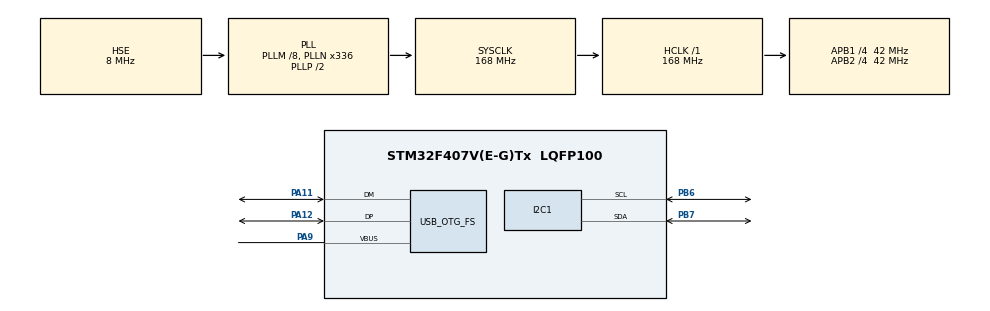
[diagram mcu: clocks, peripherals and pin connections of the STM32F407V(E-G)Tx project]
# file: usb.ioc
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Mcu.Family=STM32F4
Mcu.Name=STM32F407V(E-G)Tx
Mcu.Package=LQFP100
NVIC.OTG_FS_IRQn=true\:0\:0\:false\:false\:true\:false
NVIC.PriorityGroup=NVIC_PRIORITYGROUP_4
PA11.Mode=Device_Only
PA11.Signal=USB_OTG_FS_DM
PA12.Mode=Device_Only
PA12.Signal=USB_OTG_FS_DP
PA9.Mode=Activate_VBUS
PA9.Signal=USB_OTG_FS_VBUS
PB6.Mode=I2C
PB6.Signal=I2C1_SCL
PB7.Mode=I2C
PB7.Signal=I2C1_SDA
PH0-OSC_IN.Mode=HSE-External-Oscillator
PH0-OSC_IN.Signal=RCC_OSC_IN
PH1-OSC_OUT.Mode=HSE-External-Oscillator
PH1-OSC_OUT.Signal=RCC_OSC_OUT
ProjectManager.HeapSize=0x200
ProjectManager.StackSize=0x400
ProjectManager.TargetToolchain=MDK-ARM V5
RCC.48MHZClocksFreq_Value=48000000
RCC.AHBFreq_Value=168000000
RCC.APB1CLKDivider=RCC_HCLK_DIV4
RCC.APB1Freq_Value=42000000
RCC.APB1TimFreq_Value=84000000
RCC.APB2CLKDivider=RCC_HCLK_DIV4
RCC.APB2Freq_Value=42000000
RCC.APB2TimFreq_Value=84000000
RCC.CortexFreq_Value=168000000
RCC.HCLKFreq_Value=168000000
RCC.HSE_VALUE=8000000
RCC.HSI_VALUE=16000000
RCC.LSE_VALUE=32768
RCC.PLLM=8
RCC.PLLN=336
RCC.PLLQ=7
RCC.SYSCLKFreq_VALUE=168000000
RCC.SYSCLKSource=RCC_SYSCLKSOURCE_PLLCLK
RCC.VCOOutputFreq_Value=336000000
USB_DEVICE.CLASS_NAME_FS=CDC
USB_DEVICE.PRODUCT_STRING_CDC_FS=IgorVelikiy
USB_DEVICE.VirtualMode-CDC_FS=Cdc
USB_DEVICE.VirtualModeFS=Cdc_FS
USB_OTG_FS.VirtualMode=Device_Only
VP_USB_DEVICE_VS_USB_DEVICE_CDC_FS.Mode=CDC_FS
board=usb

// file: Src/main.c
/**
  ******************************************************************************
  * @file           : main.c
  * @brief          : Main program body
  ******************************************************************************
  * This notice applies to any and all portions of this file
  * that are not between comment pairs USER CODE BEGIN and
  * USER CODE END. Other portions of this file, whether
  * inserted by the user or by software development tools
  * are owned by their respective copyright owners.
  *
  * Copyright (c) 2018 STMicroelectronics International N.V.
  * All rights reserved.
  *
  * Redistribution and use in source and binary forms, with or without
  * modification, are permitted, provided that the following conditions are met:
  *
  * 1. Redistribution of source code must retain the above copyright notice,
  *    this list of conditions and the following disclaimer.
  * 2. Redistributions in binary form must reproduce the above copyright notice,
  *    this list of conditions and the following disclaimer in the documentation
  *    and/or other materials provided with the distribution.
  * 3. Neither the name of STMicroelectronics nor the names of other
  *    contributors to this software may be used to endorse or promote products
  *    derived from this software without specific written permission.
  * 4. This software, including modifications and/or derivative works of this
  *    software, must execute solely and exclusively on microcontroller or
  *    microprocessor devices manufactured by or for STMicroelectronics.
  * 5. Redistribution and use of this software other than as permitted under
  *    this license is void and will automatically terminate your rights under
  *    this license.
  *
  * THIS SOFTWARE IS PROVIDED BY STMICROELECTRONICS AND CONTRIBUTORS "AS IS"
  * AND ANY EXPRESS, IMPLIED OR STATUTORY WARRANTIES, INCLUDING, BUT NOT
  * LIMITED TO, THE IMPLIED WARRANTIES OF MERCHANTABILITY, FITNESS FOR A
  * PARTICULAR PURPOSE AND NON-INFRINGEMENT OF THIRD PARTY INTELLECTUAL PROPERTY
  * RIGHTS ARE DISCLAIMED TO THE FULLEST EXTENT PERMITTED BY LAW. IN NO EVENT
  * SHALL STMICROELECTRONICS OR CONTRIBUTORS BE LIABLE FOR ANY DIRECT, INDIRECT,
  * INCIDENTAL, SPECIAL, EXEMPLARY, OR CONSEQUENTIAL DAMAGES (INCLUDING, BUT NOT
  * LIMITED TO, PROCUREMENT OF SUBSTITUTE GOODS OR SERVICES; LOSS OF USE, DATA,
  * OR PROFITS; OR BUSINESS INTERRUPTION) HOWEVER CAUSED AND ON ANY THEORY OF
  * LIABILITY, WHETHER IN CONTRACT, STRICT LIABILITY, OR TORT (INCLUDING
  * NEGLIGENCE OR OTHERWISE) ARISING IN ANY WAY OUT OF THE USE OF THIS SOFTWARE,
  * EVEN IF ADVISED OF THE POSSIBILITY OF SUCH DAMAGE.
  *
  ******************************************************************************
  */
#include "main.h"
#include "stm32f4xx_hal.h"

/* USER CODE BEGIN Includes */
#include "mpu.h"
#include "uart.h"
#include "MadgwickAHRS.h"
#define MS 1000
/* USER CODE END Includes */

I2C_HandleTypeDef hi2c1;
uint8_t buffer[16];
/* USER CODE BEGIN PV */
/* Private variables ---------------------------------------------------------*/

/* USER CODE END PV */

void SystemClock_Config(void);
static void MX_GPIO_Init(void);
static void MX_I2C1_Init(void);

/* USER CODE BEGIN PFP */
/* Private function prototypes -----------------------------------------------*/

/* USER CODE END PFP */

int main(void)
{
  /* USER CODE BEGIN 1 */
	MEMS data;
  /* USER CODE END 1 */

  /* MCU Configuration----------------------------------------------------------*/

  /* Reset of all peripherals, Initializes the Flash interface and the Systick. */
  HAL_Init();

  /* Configure the system clock */
  SystemClock_Config();

  /* Initialize all configured peripherals */
  MX_GPIO_Init();
  MX_I2C1_Init();
  /* USER CODE BEGIN 2 */
	USART1_Init();
  /* USER CODE END 2 */

  /* Infinite loop */
  /* USER CODE BEGIN WHILE */
	i2cWrite(0x6B, 0); // wakeup mpu
	MagnetInit();
	RCC->AHB1ENR|=RCC_AHB1ENR_GPIODEN;
	GPIOD->MODER = 0x55000000;
  while (1)
  {
		readMPU(&data);
		MadgwickAHRSupdate(data.gyroscope.x,data.gyroscope.y,data.gyroscope.z,data.accelerometer.x,data.accelerometer.y,data.accelerometer.z,data.compass.x,data.compass.y,data.compass.z);
		/*ret1 = snprintf(buffer, sizeof buffer, "%f", q0);
		for (size = 0; size<ret1; size++)
		{
			buf[size] = (uint8_t)buffer[size];
			buffer[size] = 0;
		}
		buf[size++]='\n';
		ret2 = snprintf(buffer, sizeof buffer, "%f", q1);
		for (int i = 0; i<ret2; i++, size++)
		{
			buf[size] = (uint8_t)buffer[i];
			buffer[i] = 0;
		}
		buf[size++]='\n';
		ret3 = snprintf(buffer, sizeof buffer, "%f", q2);
		for (int i = 0; i<ret3; i++, size++)
		{
			buf[size] = (uint8_t)buffer[i];
			buffer[i] = 0;
		}
		buf[size++]='\n';
		ret4 = snprintf(buffer, sizeof buffer, "%f", q3);
		for (int i = 0; i<ret4; i++, size++)
		{
			buf[size] = (uint8_t)buffer[i];
			buffer[i] = 0;
		}
		buf[size++]='\n';
		USART1_Send_String(buf, size);
		HAL_Delay(MS);*/
		memcpy(buffer, (void*)&q0, 4);
		memcpy(buffer+4, (void*)&q1, 4);
		memcpy(buffer+8, (void*)&q2, 4);
		memcpy(buffer+12, (void*)&q3, 4);
		USART1_Send_String(buffer, 16);
		HAL_Delay(MS);
  /* USER CODE END WHILE */

  }

}

void SystemClock_Config(void)
{

  RCC_OscInitTypeDef RCC_OscInitStruct;
  RCC_ClkInitTypeDef RCC_ClkInitStruct;

    /**Configure the main internal regulator output voltage
    */
  __HAL_RCC_PWR_CLK_ENABLE();

  __HAL_PWR_VOLTAGESCALING_CONFIG(PWR_REGULATOR_VOLTAGE_SCALE1);

    /**Initializes the CPU, AHB and APB busses clocks
    */
  RCC_OscInitStruct.OscillatorType = RCC_OSCILLATORTYPE_HSE;
  RCC_OscInitStruct.HSEState = RCC_HSE_ON;
  RCC_OscInitStruct.PLL.PLLState = RCC_PLL_ON;
  RCC_OscInitStruct.PLL.PLLSource = RCC_PLLSOURCE_HSE;
  RCC_OscInitStruct.PLL.PLLM = 8;
  RCC_OscInitStruct.PLL.PLLN = 336;
  RCC_OscInitStruct.PLL.PLLP = RCC_PLLP_DIV2;
  RCC_OscInitStruct.PLL.PLLQ = 7;
  if (HAL_RCC_OscConfig(&RCC_OscInitStruct) != HAL_OK)
  {
    _Error_Handler(__FILE__, __LINE__);
  }

    /**Initializes the CPU, AHB and APB busses clocks
    */
  RCC_ClkInitStruct.ClockType = RCC_CLOCKTYPE_HCLK|RCC_CLOCKTYPE_SYSCLK
                              |RCC_CLOCKTYPE_PCLK1|RCC_CLOCKTYPE_PCLK2;
  RCC_ClkInitStruct.SYSCLKSource = RCC_SYSCLKSOURCE_PLLCLK;
  RCC_ClkInitStruct.AHBCLKDivider = RCC_SYSCLK_DIV1;
  RCC_ClkInitStruct.APB1CLKDivider = RCC_HCLK_DIV4;
  RCC_ClkInitStruct.APB2CLKDivider = RCC_HCLK_DIV4;

  if (HAL_RCC_ClockConfig(&RCC_ClkInitStruct, FLASH_LATENCY_5) != HAL_OK)
  {
    _Error_Handler(__FILE__, __LINE__);
  }

    /**Configure the Systick interrupt time
    */
  HAL_SYSTICK_Config(HAL_RCC_GetHCLKFreq()/1000);

    /**Configure the Systick
    */
  HAL_SYSTICK_CLKSourceConfig(SYSTICK_CLKSOURCE_HCLK);

  /* SysTick_IRQn interrupt configuration */
  HAL_NVIC_SetPriority(SysTick_IRQn, 0, 0);
}

/* I2C1 init function */
static void MX_I2C1_Init(void)
{

  hi2c1.Instance = I2C1;
  hi2c1.Init.ClockSpeed = 100000;
  hi2c1.Init.DutyCycle = I2C_DUTYCYCLE_2;
  hi2c1.Init.OwnAddress1 = 0;
  hi2c1.Init.AddressingMode = I2C_ADDRESSINGMODE_7BIT;
  hi2c1.Init.DualAddressMode = I2C_DUALADDRESS_DISABLE;
  hi2c1.Init.OwnAddress2 = 0;
  hi2c1.Init.GeneralCallMode = I2C_GENERALCALL_DISABLE;
  hi2c1.Init.NoStretchMode = I2C_NOSTRETCH_DISABLE;
  if (HAL_I2C_Init(&hi2c1) != HAL_OK)
  {
    _Error_Handler(__FILE__, __LINE__);
  }

}

/** Configure pins as
        * Analog
        * Input
        * Output
        * EVENT_OUT
        * EXTI
*/
static void MX_GPIO_Init(void)
{

  /* GPIO Ports Clock Enable */
  __HAL_RCC_GPIOH_CLK_ENABLE();
  __HAL_RCC_GPIOA_CLK_ENABLE();
  __HAL_RCC_GPIOB_CLK_ENABLE();

}

void _Error_Handler(char *file, int line)
{
  while(1)
  {
  }
}

/************************ (C) COPYRIGHT STMicroelectronics *****END OF FILE****/
